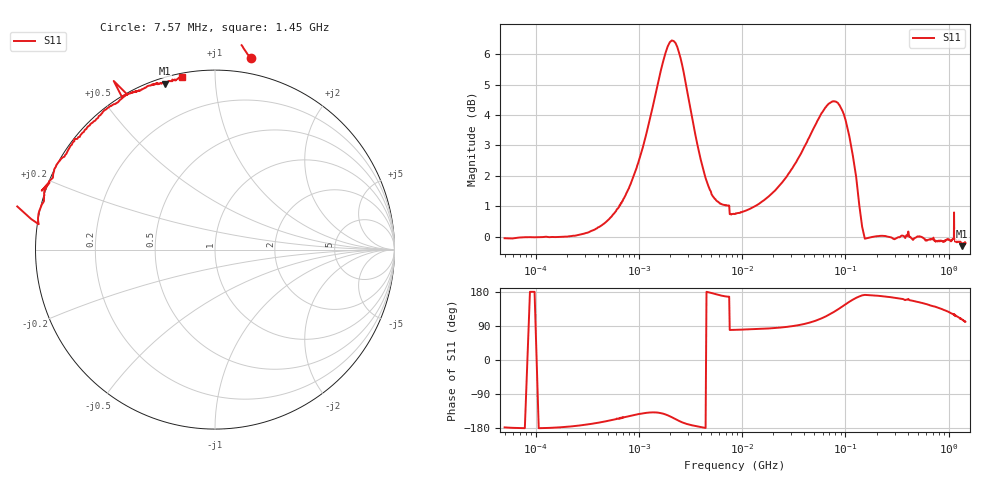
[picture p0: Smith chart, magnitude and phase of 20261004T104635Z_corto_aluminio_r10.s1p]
! piloto_corto / corto_aluminio / r10
# HZ S RI R 50
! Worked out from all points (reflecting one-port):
!   501 points, 50 kHz to 1.45 GHz, reference 50 ohm
!   lowest |S11| = -0.3 dB at 1.347 GHz (marker M1), VSWR 55.69, Z = 1.39 + j37.1 ohm
!   phase of S11 starts at -178 deg and turns -81 deg over the sweep
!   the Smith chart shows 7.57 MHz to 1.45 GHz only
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50000  -0.9934 -0.0381
183000  -0.9983 -0.0502
363500  -1.001 -0.2209
658000  -1.017 -0.4835
1180000  -1.122 -0.9599
1630000  -1.443 -1.201
1990000  -1.779 -1.093
2440000  -1.895 -0.6669
3340000  -1.527 -0.1924
4690000  -1.213 0.0224
7300000  -1.098 0.2501
7750000  0.2032 1.07
8560000  0.1962 1.073
3.16e7  0.0016 1.308
4.69e7  -0.2628 1.459
6.76e7  -0.7734 1.457
8.02e7  -1.063 1.285
9.46e7  -1.27 0.9786
9.82e7  -1.296 0.8934
1e8  -1.305 0.8515
1.18e8  -1.271 0.4784
1.36e8  -1.102 0.2404
1.63e8  -0.9835 0.1488
4.06e8  -0.9654 0.3282
8.47e8  -0.696 0.6972
1.1215e9  -0.488 0.8631
1.3465e9  -0.2787 0.9236
1.45e9  -0.1823 0.9592
